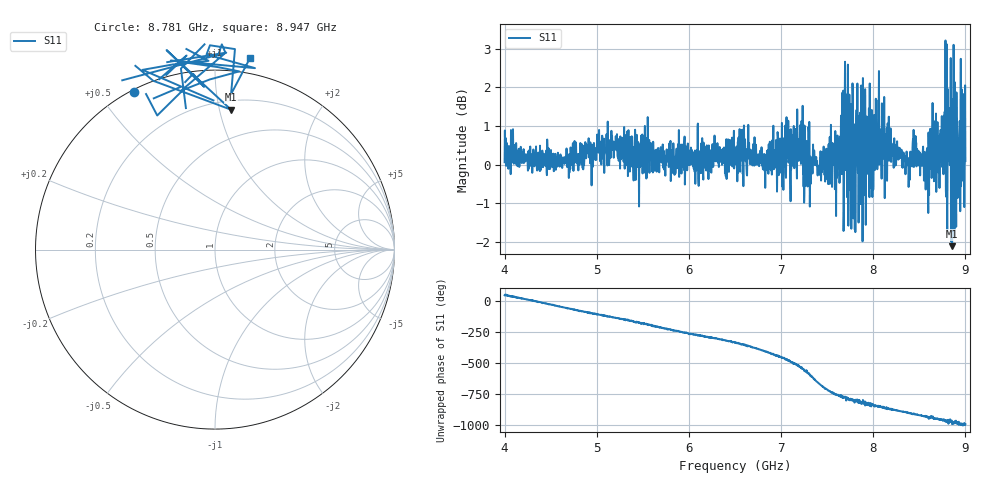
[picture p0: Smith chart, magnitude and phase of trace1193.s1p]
! Created with skrf 1.8.0 (http://scikit-rf.org).
# Hz S RI R 50.0
!freq ReS11 ImS11
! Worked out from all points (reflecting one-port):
!   1601 points, 4 GHz to 9 GHz, reference 50 ohm
!   lowest |S11| = -2.1 dB at 8.856 GHz (marker M1), VSWR 8.28, Z = 13.4 + j54.3 ohm
!   phase of S11 starts at 48 deg and turns -1045 deg over the sweep
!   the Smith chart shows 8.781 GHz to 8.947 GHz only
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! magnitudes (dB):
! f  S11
! 4 GHz  0.1
! 4.625 GHz  -0.1
! 5.25 GHz  0.2
! 5.875 GHz  0.2
! 6.5 GHz  0.3
! 6.819 GHz  -0.1
! 7.125 GHz  0.7
! 7.216 GHz  0.0
! 7.269 GHz  0.3
! 7.284 GHz  0.4
! 7.5 GHz  0.1
! 7.622 GHz  0.7
! 7.688 GHz  1.4
! 7.75 GHz  0.1
! 7.834 GHz  -0.2
! 7.897 GHz  0.9
! 7.928 GHz  1.2
! 7.981 GHz  0.6
! 8.053 GHz  0.8
! 8.375 GHz  0.1
! 8.45 GHz  0.3
! 8.572 GHz  0.2
! 8.634 GHz  -0.3
! 8.697 GHz  1.1
! 8.772 GHz  0.3
! 8.856 GHz  -2.1
! 8.956 GHz  -0.1
! 9 GHz  0.1
